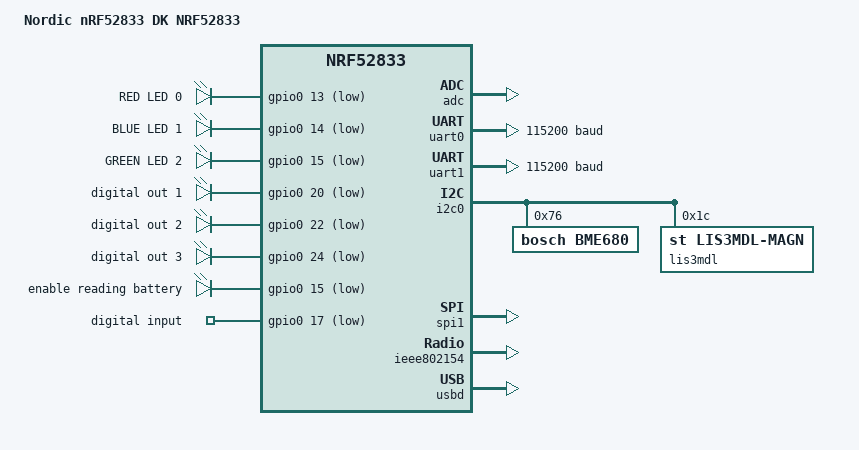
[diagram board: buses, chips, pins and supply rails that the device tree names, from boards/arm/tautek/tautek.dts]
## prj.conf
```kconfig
CONFIG_LOG=y
CONFIG_SERIAL=y
CONFIG_CONSOLE=y
CONFIG_UART_CONSOLE=y
CONFIG_STDOUT_CONSOLE=y
CONFIG_I2C=y
CONFIG_SENSOR=y
CONFIG_CBPRINTF_FP_SUPPORT=y
```

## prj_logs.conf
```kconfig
# Print the log on RTT Viewer
CONFIG_LOG=y
CONFIG_SERIAL=n
CONFIG_CONSOLE=y
CONFIG_UART_CONSOLE=n
CONFIG_RTT_CONSOLE=y
CONFIG_USE_SEGGER_RTT=y
CONFIG_STDOUT_CONSOLE=y
CONFIG_LOG_MODE_DEFERRED=y
CONFIG_LOG_BACKEND_UART=n
CONFIG_LOG_BACKEND_RTT=y
CONFIG_LOG_BUFFER_SIZE=4096
CONFIG_SEGGER_RTT_BUFFER_SIZE_UP=4096
CONFIG_SEGGER_RTT_BUFFER_SIZE_DOWN=256

CONFIG_STDOUT_CONSOLE=y
CONFIG_I2C=y
CONFIG_SENSOR=y

CONFIG_CBPRINTF_FP_SUPPORT=y
```

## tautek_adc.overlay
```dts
/ {
    zephyr,user {
		io-channels = <&adc 0>, <&adc 1>;
	};
};

&adc {
	status = "okay";

	#address-cells = <1>;
	#size-cells = <0>;

	channel@0 { //input range is 0 - 3.6V
		reg = <0>;
		zephyr,gain = "ADC_GAIN_1_6";
		zephyr,reference = "ADC_REF_INTERNAL";
		zephyr,acquisition-time = <ADC_ACQ_TIME_DEFAULT>;
		zephyr,input-positive = <NRF_SAADC_AIN0>; /* P0.02 */
		zephyr,resolution = <12>;
	};

	channel@1 {
		reg = <1>;
		zephyr,gain = "ADC_GAIN_1_6";
		zephyr,reference = "ADC_REF_INTERNAL";
		zephyr,acquisition-time = <ADC_ACQ_TIME_DEFAULT>;
		zephyr,input-positive = <NRF_SAADC_AIN1>; /* P0.03 */
		zephyr,resolution = <12>;
	};
};
```

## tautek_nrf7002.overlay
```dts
#include <freq.h>

/ {
	nrf_radio_coex: nrf7002-coex {
		status = "okay";
		compatible = "nordic,nrf700x-coex";
		status0-gpios = <&gpio0 29 GPIO_ACTIVE_HIGH>;       /* D2 */
		req-gpios = <&gpio0 28 GPIO_ACTIVE_HIGH>;   /* D3 */
		grant-gpios = <&gpio0 20 (GPIO_PULL_DOWN | GPIO_ACTIVE_LOW)>;    /* D4 */
		swctrl1-gpios = <&gpio0 22 GPIO_ACTIVE_HIGH>;  /* D6 */
	};
};

&spi1 {
	status = "okay";
	cs-gpios = <&gpio0 4 GPIO_ACTIVE_LOW>; /* D10 */

	nrf700x: nrf7002@0 {
		compatible = "nordic,nrf700x-spi";
		status = "okay";
		reg = <0>;
		spi-max-frequency = <DT_FREQ_M(8)>;

		iovdd-ctrl-gpios = <&gpio 25 (GPIO_ACTIVE_HIGH | GPIO_PULL_DOWN)>;    /* D0 */
		bucken-gpios = <&gpio0 2 (GPIO_ACTIVE_HIGH | GPIO_PULL_DOWN)>;        /* D1 */
		host-irq-gpios = <&gpio 24 GPIO_ACTIVE_HIGH>;     /* D7 */
	};
};
```

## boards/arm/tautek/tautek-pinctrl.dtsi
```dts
/*
 * Copyright (c) 2022 Nordic Semiconductor
 * SPDX-License-Identifier: Apache-2.0
 */

&pinctrl {
	uart0_default: uart0_default {
		group1 {
			psels = <NRF_PSEL(UART_TX, 0, 6)>,
				<NRF_PSEL(UART_RTS, 0, 5)>;
		};
		group2 {
			psels = <NRF_PSEL(UART_RX, 0, 8)>,
				<NRF_PSEL(UART_CTS, 0, 7)>;
			bias-pull-up;
		};
	};

	uart0_sleep: uart0_sleep {
		group1 {
			psels = <NRF_PSEL(UART_TX, 0, 6)>,
				<NRF_PSEL(UART_RX, 0, 8)>,
				<NRF_PSEL(UART_RTS, 0, 5)>,
				<NRF_PSEL(UART_CTS, 0, 7)>;
			low-power-enable;
		};
	};

	uart1_default: uart1_default {
		group1 {
			psels = <NRF_PSEL(UART_RX, 1, 1)>;
			bias-pull-up;
		};
		group2 {
			psels = <NRF_PSEL(UART_TX, 1, 2)>;
		};
	};

	uart1_sleep: uart1_sleep {
		group1 {
			psels = <NRF_PSEL(UART_RX, 1, 1)>,
				<NRF_PSEL(UART_TX, 1, 2)>;
			low-power-enable;
		};
	};

	i2c0_default: i2c0_default {
		group1 {
			psels = <NRF_PSEL(TWIM_SDA, 0, 26)>,
				<NRF_PSEL(TWIM_SCL, 0, 27)>;
		};
	};

	i2c0_sleep: i2c0_sleep {
		group1 {
			psels = <NRF_PSEL(TWIM_SDA, 0, 26)>,
				<NRF_PSEL(TWIM_SCL, 0, 27)>;
			low-power-enable;
		};
	};

	i2c1_default: i2c1_default {
		group1 {
			psels = <NRF_PSEL(TWIM_SDA, 0, 30)>,
				<NRF_PSEL(TWIM_SCL, 0, 31)>;
		};
	};

	i2c1_sleep: i2c1_sleep {
		group1 {
			psels = <NRF_PSEL(TWIM_SDA, 0, 30)>,
				<NRF_PSEL(TWIM_SCL, 0, 31)>;
			low-power-enable;
		};
	};

	spi0_default: spi0_default {
		group1 {
			psels = <NRF_PSEL(SPIM_SCK, 0, 27)>,
				<NRF_PSEL(SPIM_MOSI, 0, 26)>,
				<NRF_PSEL(SPIM_MISO, 0, 29)>;
		};
	};

	spi0_sleep: spi0_sleep {
		group1 {
			psels = <NRF_PSEL(SPIM_SCK, 0, 27)>,
				<NRF_PSEL(SPIM_MOSI, 0, 26)>,
				<NRF_PSEL(SPIM_MISO, 0, 29)>;
			low-power-enable;
		};
	};


	spi1_default: spi1_default {
		group1 {
			psels = <NRF_PSEL(SPIM_SCK, 0, 31)>,
				<NRF_PSEL(SPIM_MOSI, 0, 30)>,
				<NRF_PSEL(SPIM_MISO, 1, 8)>;
		};
	};

	spi1_sleep: spi1_sleep {
		group1 {
			psels = <NRF_PSEL(SPIM_SCK, 0, 31)>,
				<NRF_PSEL(SPIM_MOSI, 0, 30)>,
				<NRF_PSEL(SPIM_MISO, 1, 8)>;
			low-power-enable;
		};
	};
};
```

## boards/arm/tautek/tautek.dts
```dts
/*
 * Copyright (c) 2019 Nordic Semiconductor ASA
 *
 * SPDX-License-Identifier: Apache-2.0
 */

/dts-v1/;
#include <nordic/nrf52833_qiaa.dtsi>
#include "tautek-pinctrl.dtsi"
#include <freq.h>

/ {
	model = "Nordic nRF52833 DK NRF52833";
	compatible = "nordic,nrf52833-dk-nrf52833";

	chosen {
		zephyr,console = &uart0;
		zephyr,shell-uart = &uart0;
		zephyr,uart-mcumgr = &uart0;
		zephyr,bt-mon-uart = &uart0;
		zephyr,bt-c2h-uart = &uart0;
		zephyr,sram = &sram0;
		zephyr,flash = &flash0;
		zephyr,code-partition = &slot0_partition;
		zephyr,ieee802154 = &ieee802154;
	};

	leds {
		compatible = "gpio-leds";
		red_led: red_led {
			gpios = <&gpio0 13 GPIO_ACTIVE_LOW>;
			label = "RED LED 0";
		};
		blue_led: blue_led {
			gpios = <&gpio0 14 GPIO_ACTIVE_LOW>;
			label = "BLUE LED 1";
		};
		green_led: green_led {
			gpios = <&gpio0 15 GPIO_ACTIVE_LOW>;
			label = "GREEN LED 2";
		};
		dout1: dout_1 {
			gpios = <&gpio0 20 GPIO_ACTIVE_LOW>;
			label = "digital out 1";
		};
		dout2: dout_2 {
			gpios = <&gpio0 22 GPIO_ACTIVE_LOW>;
			label = "digital out 2";
		};
		dout3: dout_3 {
			gpios = <&gpio0 24 GPIO_ACTIVE_LOW>;
			label = "digital out 3";
		};
		readbat: read_bat {
			gpios = <&gpio0 15 GPIO_ACTIVE_LOW>;
			label = "enable reading battery";
		};
	};

	buttons {
		compatible = "gpio-keys";
		din: din {
			gpios = <&gpio0 17 (GPIO_PULL_UP | GPIO_ACTIVE_LOW)>;
			label = "digital input";
		};
	};
	/* These aliases are provided for compatibility with samples */
	aliases {
		redled = &red_led;
		blueled = &blue_led;
		greenled = &green_led;
		din = &din;
		dout1 = &dout1;
		dout2 = &dout2;
		dout3 = &dout3;
		readbat = &readbat;
		bootloader-led0 = &red_led;
		mcuboot-button0 = &din;
		mcuboot-led0 = &red_led;
		watchdog0 = &wdt0;
	};
};

&adc {
	status = "okay";
};

&gpiote {
	status = "okay";
};

&gpio0 {
	status = "okay";
};

&gpio1 {
	status = "okay";
};

&uart0 {
	compatible = "nordic,nrf-uarte";
	status = "okay";
	current-speed = <115200>;
	pinctrl-0 = <&uart0_default>;
	pinctrl-1 = <&uart0_sleep>;
	pinctrl-names = "default", "sleep";
};

&uart1 {
	current-speed = <115200>;
	pinctrl-0 = <&uart1_default>;
	pinctrl-1 = <&uart1_sleep>;
	pinctrl-names = "default", "sleep";
};

&i2c0 {
	compatible = "nordic,nrf-twi";
	status = "okay";
	pinctrl-0 = <&i2c0_default>;
	pinctrl-1 = <&i2c0_sleep>;
	pinctrl-names = "default", "sleep";

	bme680@76 {
		compatible = "bosch,bme680";
		reg = <0x76>;
	};
	lis3mdl@1c {
		compatible = "st,lis3mdl-magn";
		reg = <0x1c>;
	};
};

&i2c1 {
	compatible = "nordic,nrf-twi";
	/* Cannot be used together with spi1. */
	/* status = "okay"; */
	pinctrl-0 = <&i2c1_default>;
	pinctrl-1 = <&i2c1_sleep>;
	pinctrl-names = "default", "sleep";
};

&spi1 {
	compatible = "nordic,nrf-spi";
	status = "okay";
	pinctrl-0 = <&spi1_default>;
	pinctrl-1 = <&spi1_sleep>;
	pinctrl-names = "default", "sleep";
};

&ieee802154 {
	status = "okay";
};

&flash0 {

	partitions {
		compatible = "fixed-partitions";
		#address-cells = <1>;
		#size-cells = <1>;

		boot_partition: partition@0 {
			label = "mcuboot";
			reg = <0x00000000 0xC000>;
		};
		slot0_partition: partition@c000 {
			label = "image-0";
			reg = <0x0000C000 0x37000>;
		};
		slot1_partition: partition@43000 {
			label = "image-1";
			reg = <0x00043000 0x37000>;
		};
		storage_partition: partition@7a000 {
			label = "storage";
			reg = <0x0007A000 0x00006000>;
		};
	};
};

zephyr_udc0: &usbd {
	compatible = "nordic,nrf-usbd";
	status = "okay";
};
```

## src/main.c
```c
/*
 * Copyright (c) 2016 Intel Corporation
 *
 * SPDX-License-Identifier: Apache-2.0
 */

#include <zephyr/kernel.h>
#include <zephyr/device.h>
#include <zephyr/drivers/gpio.h>
#include <zephyr/drivers/sensor.h>

/* 1000 msec = 1 sec */
#define SLEEP_TIME_MS   1000

/* The devicetree node identifier for the "led0" alias. */
#define GREEN_LED_NODE DT_ALIAS(greenled)

/*
 * A build error on this line means your board is unsupported.
 * See the sample documentation for information on how to fix this.
 */
static const struct gpio_dt_spec green_led = GPIO_DT_SPEC_GET(GREEN_LED_NODE, gpios);

const struct device *const lis3mdl = DEVICE_DT_GET_ONE(st_lis3mdl_magn);
const struct device *const bme680 = DEVICE_DT_GET_ONE(bosch_bme680);

int main(void)
{
	int ret;

	if (!gpio_is_ready_dt(&green_led)) {
		return 0;
	}

	ret = gpio_pin_configure_dt(&green_led, GPIO_OUTPUT_ACTIVE);
	if (ret < 0) {
		return 0;
	}

	
	struct sensor_value temp, press, humidity, gas_res;

	if (!device_is_ready(bme680)) {
		printk("sensor: device not ready.\n");
		return 0;
	}

	printf("Device %p name is %s\n", bme680, bme680->name);

	struct sensor_value magn_xyz[3];

	if (!device_is_ready(lis3mdl)) {
		printk("%s: device not ready.\n", lis3mdl->name);
		return 0;
	}

	printf("Device %p name is %s\n", lis3mdl, lis3mdl->name);


	while (1) {
		ret = gpio_pin_toggle_dt(&green_led);
		if (ret < 0) {
			return 0;
		}

		sensor_sample_fetch(bme680);
		sensor_channel_get(bme680, SENSOR_CHAN_AMBIENT_TEMP, &temp);
		sensor_channel_get(bme680, SENSOR_CHAN_PRESS, &press);
		sensor_channel_get(bme680, SENSOR_CHAN_HUMIDITY, &humidity);
		sensor_channel_get(bme680, SENSOR_CHAN_GAS_RES, &gas_res);

		printf("T: %d.%06d; P: %d.%06d; H: %d.%06d; G: %d.%06d\n",
				temp.val1, temp.val2, press.val1, press.val2,
				humidity.val1, humidity.val2, gas_res.val1,
				gas_res.val2);

		if (sensor_sample_fetch(lis3mdl) < 0) {
			printf("LIS3MDL Sensor sample update error\n");
			return 0;
		}

		sensor_channel_get(lis3mdl, SENSOR_CHAN_MAGN_XYZ, magn_xyz);

		printf(
		 "LIS3MDL: Magnetic field (gauss): x: %.1f, y: %.1f, z: %.1f\n",
		 sensor_value_to_double(&magn_xyz[0]),
		 sensor_value_to_double(&magn_xyz[1]),
		 sensor_value_to_double(&magn_xyz[2]));

		k_msleep(SLEEP_TIME_MS);
	}
	return 0;
}
```
